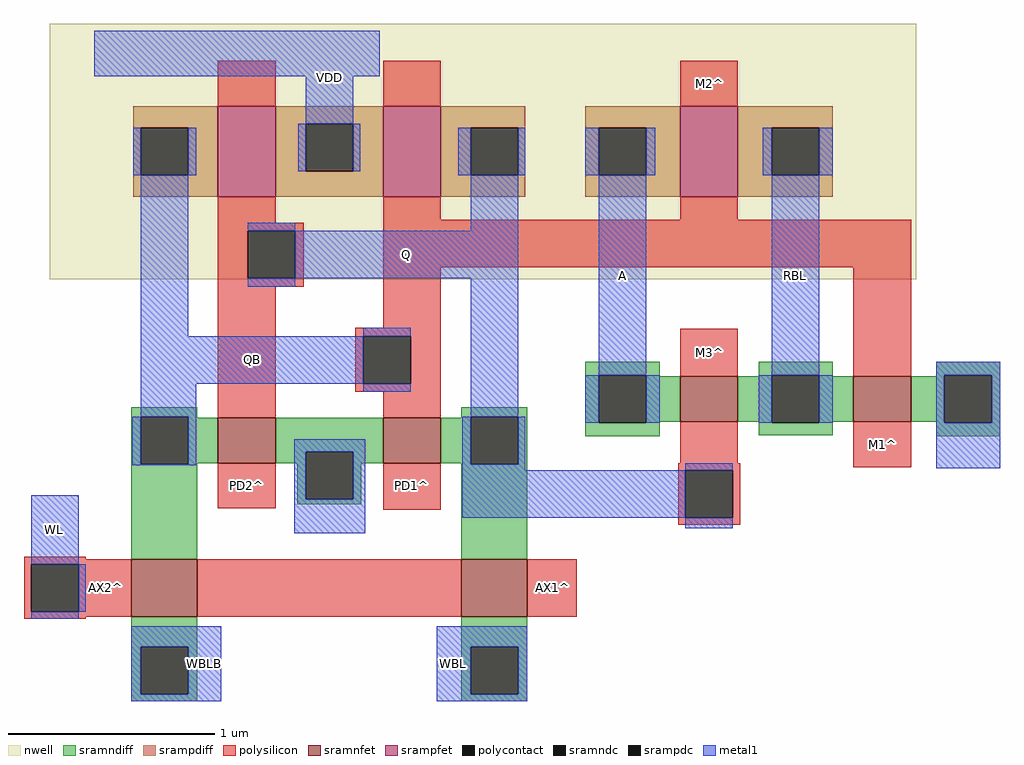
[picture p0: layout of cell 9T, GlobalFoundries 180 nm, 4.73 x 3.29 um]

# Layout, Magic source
magic
tech gf180mcuD
magscale 1 10
<< nwell >>
rect -100 -78 740 170
<< sramnfet >>
rect 63 -256 119 -212
rect 223 -256 279 -212
rect 511 -216 567 -172
rect 679 -216 735 -172
rect -21 -405 43 -349
rect 299 -405 363 -349
<< srampfet >>
rect 63 2 119 90
rect 223 2 279 90
rect 511 2 567 90
<< sramndiff >>
rect -21 -211 43 -202
rect -21 -257 -12 -211
rect 34 -212 43 -211
rect 419 -171 491 -158
rect 299 -211 363 -202
rect 299 -212 308 -211
rect 34 -256 63 -212
rect 119 -245 223 -212
rect 119 -256 148 -245
rect 34 -257 43 -256
rect -21 -349 43 -257
rect 140 -291 148 -256
rect 194 -256 223 -245
rect 279 -256 308 -212
rect 194 -291 202 -256
rect 140 -296 202 -291
rect 299 -257 308 -256
rect 354 -257 363 -211
rect 419 -217 432 -171
rect 478 -172 491 -171
rect 587 -171 659 -158
rect 587 -172 600 -171
rect 478 -216 511 -172
rect 567 -216 600 -172
rect 478 -217 491 -216
rect 419 -230 491 -217
rect 587 -217 600 -216
rect 646 -172 659 -171
rect 759 -171 821 -158
rect 759 -172 767 -171
rect 646 -216 679 -172
rect 735 -216 767 -172
rect 646 -217 659 -216
rect 587 -229 659 -217
rect 299 -349 363 -257
rect 759 -217 767 -216
rect 813 -217 821 -171
rect 759 -230 821 -217
rect -21 -434 43 -405
rect -21 -480 -12 -434
rect 34 -480 43 -434
rect -21 -487 43 -480
rect 299 -434 363 -405
rect 299 -480 308 -434
rect 354 -480 363 -434
rect 299 -487 363 -480
<< srampdiff >>
rect -19 69 63 90
rect -19 23 -12 69
rect 34 23 63 69
rect -19 2 63 23
rect 119 73 223 90
rect 119 27 148 73
rect 194 27 223 73
rect 119 2 223 27
rect 279 69 361 90
rect 279 23 308 69
rect 354 23 361 69
rect 279 2 361 23
rect 419 69 511 90
rect 419 23 432 69
rect 478 23 511 69
rect 419 2 511 23
rect 567 69 659 90
rect 567 23 600 69
rect 646 23 659 69
rect 567 2 659 23
<< sramndc >>
rect -12 -257 34 -211
rect 148 -291 194 -245
rect 308 -257 354 -211
rect 432 -217 478 -171
rect 600 -217 646 -171
rect 767 -217 813 -171
rect -12 -480 34 -434
rect 308 -480 354 -434
<< srampdc >>
rect -12 23 34 69
rect 148 27 194 73
rect 308 23 354 69
rect 432 23 478 69
rect 600 23 646 69
<< polysilicon >>
rect 63 90 119 134
rect 223 90 279 134
rect 511 90 567 134
rect 63 -23 119 2
rect 223 -20 279 2
rect 511 -20 567 2
rect 63 -31 146 -23
rect 63 -77 92 -31
rect 138 -77 146 -31
rect 63 -85 146 -77
rect 223 -66 735 -20
rect 63 -212 119 -85
rect 223 -125 279 -66
rect 196 -133 279 -125
rect 196 -179 204 -133
rect 250 -179 279 -133
rect 196 -187 279 -179
rect 223 -212 279 -187
rect -125 -349 -65 -347
rect 63 -300 119 -256
rect 223 -301 279 -256
rect 511 -172 567 -126
rect 511 -256 567 -216
rect 679 -172 735 -66
rect 509 -263 569 -256
rect 679 -260 735 -216
rect 509 -309 516 -263
rect 562 -309 569 -263
rect 509 -316 569 -309
rect -125 -354 -21 -349
rect -125 -400 -118 -354
rect -72 -400 -21 -354
rect -125 -405 -21 -400
rect 43 -405 299 -349
rect 363 -405 411 -349
rect -125 -407 -65 -405
<< polycontact >>
rect 92 -77 138 -31
rect 204 -179 250 -133
rect 516 -309 562 -263
rect -118 -400 -72 -354
<< metal1 >>
rect -57 119 220 163
rect 148 73 194 119
rect -19 23 -12 69
rect 34 23 42 69
rect 141 27 148 73
rect 194 27 201 73
rect 296 23 308 69
rect 354 23 361 69
rect 419 23 432 69
rect 478 23 487 69
rect 591 23 600 69
rect 646 23 659 69
rect -12 -133 34 23
rect 92 -31 138 -23
rect 308 -31 354 23
rect 138 -77 354 -31
rect 92 -85 138 -77
rect 204 -133 250 -125
rect -12 -179 204 -133
rect -12 -211 42 -179
rect 204 -187 250 -179
rect 308 -211 354 -77
rect 432 -171 478 23
rect 600 -171 646 23
rect 759 -171 821 -158
rect -20 -257 -12 -211
rect 34 -257 42 -211
rect -20 -258 42 -257
rect 137 -245 206 -233
rect -118 -354 -72 -287
rect 137 -291 148 -245
rect 194 -291 206 -245
rect 137 -324 206 -291
rect 300 -257 308 -211
rect 354 -257 361 -211
rect 419 -217 432 -171
rect 478 -217 491 -171
rect 587 -217 600 -171
rect 646 -217 659 -171
rect 759 -217 767 -171
rect 813 -217 821 -171
rect 300 -263 361 -257
rect 516 -263 562 -256
rect 759 -261 821 -217
rect 300 -309 516 -263
rect 516 -319 562 -309
rect -72 -400 -65 -354
rect -118 -407 -72 -400
rect -21 -434 66 -414
rect -21 -480 -12 -434
rect 34 -480 66 -434
rect -21 -487 66 -480
rect 275 -434 363 -414
rect 275 -480 308 -434
rect 354 -480 363 -434
rect 275 -487 363 -480
<< labels >>
rlabel polysilicon 91 -278 91 -278 4 PD2^
rlabel polysilicon 251 -278 251 -278 4 PD1^
rlabel polysilicon 539 112 539 112 4 M2^
rlabel polysilicon 707 -238 707 -238 4 M1^
rlabel polysilicon 539 -149 539 -149 4 M3^
rlabel polysilicon -46 -377 -46 -377 4 AX2^
rlabel polysilicon 387 -377 387 -377 4 AX1^
rlabel metal1 -118 -354 -72 -287 1 WL
port 11 n
rlabel metal1 600 -171 646 23 1 RBL
port 10 n
rlabel metal1 432 -171 478 23 1 A
port 7 n
rlabel metal1 34 -487 66 -414 1 WBLB
port 4 n
rlabel metal1 275 -487 308 -414 1 WBL
port 5 n
rlabel metal1 138 -77 354 -31 1 Q
port 8 n
rlabel metal1 -12 -179 204 -133 1 QB
port 12 n
rlabel metal1 148 73 194 163 1 VDD
port 13 n
<< end >>
